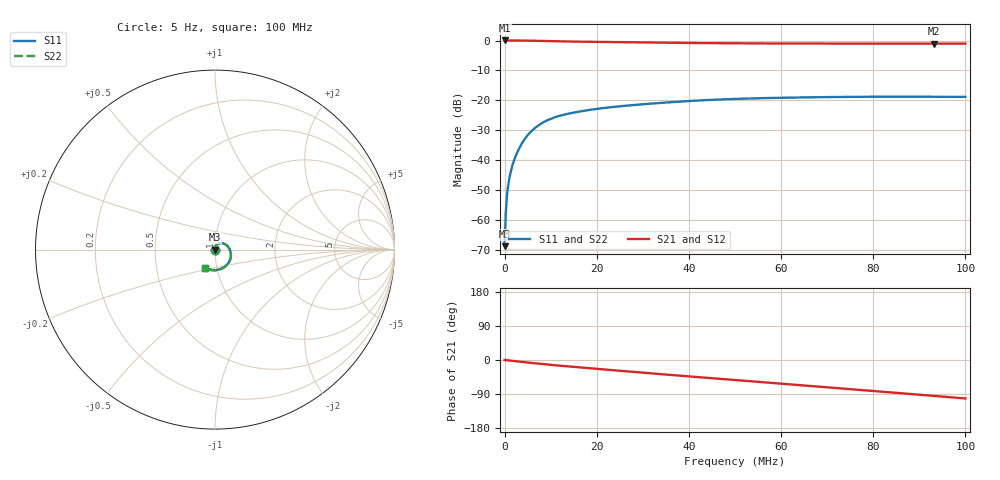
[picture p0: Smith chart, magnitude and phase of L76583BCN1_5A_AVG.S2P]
!Agilent Technologies,E5061B,MY49102235,A.02.00
!Date: Mon Jul 10 16:11:33 2023
!Data & Calibration Information:
!Freq	S11:SOLT2(ON)	S21:SOLT2(ON)	S12:SOLT2(ON)	S22:SOLT2(ON)
# Hz S RI R 50
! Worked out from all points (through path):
!   1600 points, 5 Hz to 100 MHz, reference 50 ohm
!   highest |S21| = 0.01 dB at 5 Hz (marker M1); lowest = -1.0 dB at 93.25 MHz (marker M2)
!   group delay of S21, straight-line fit = 2.74 ns
!   lowest |S11| = -68.9 dB at 62.54 kHz (marker M3), VSWR 1.00, Z = 50 + j0.0356 ohm
!   |S11| at or under -10 dB: start of sweep to end of sweep
!   |S22| runs from -73.5 to -18.7 dB; largest |S21 - S12| = 0.0026
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5  -0.00045 0.000433  1.002 0.00232  1.001 -4.2e-05  -0.000204 -5.1e-05
62544.08  -5.02e-05 0.000356  1 -0.00123  1 -0.00109  3.11e-05 0.000258
375239.5  0.000165 0.00187  0.9998 -0.0084  1 -0.0085  0.000111 0.00182
625395.8  0.000277 0.00308  0.9996 -0.0143  0.9991 -0.0142  0.000286 0.00311
813013.1  0.000185 0.0039  1 -0.0187  0.999 -0.0182  0.000175 0.00386
1125709  0.000329 0.00539  0.9996 -0.0258  0.999 -0.0255  0.000354 0.00537
1563482  0.000512 0.00742  0.9986 -0.0356  0.999 -0.0355  0.000548 0.0074
2251412  0.00114 0.0108  0.9984 -0.0521  0.9981 -0.0511  0.00112 0.0108
3001881  0.00198 0.0147  0.9968 -0.0681  0.997 -0.068  0.00195 0.0147
4002506  0.00414 0.0199  0.9933 -0.0921  0.9933 -0.0919  0.00407 0.02
4940593  0.00741 0.0246  0.9887 -0.1138  0.9886 -0.1135  0.00731 0.0247
6003757  0.0119 0.0288  0.9824 -0.1372  0.9825 -0.1369  0.0118 0.0288
8880555  0.0267 0.0358  0.9609 -0.1958  0.9609 -0.1954  0.0266 0.0359
1.188243e7  0.0418 0.0352  0.9359 -0.2485  0.9358 -0.2485  0.0418 0.0354
1.669794e7  0.0593 0.0277  0.8964 -0.3252  0.8964 -0.3251  0.0594 0.0277
2.345216e7  0.0762 0.0115  0.8363 -0.4236  0.8364 -0.4234  0.0763 0.0113
3.333334e7  0.0876 -0.0186  0.7369 -0.5496  0.737 -0.5494  0.088 -0.0192
5.003127e7  0.0763 -0.0723  0.5418 -0.7154  0.5421 -0.7155  0.0762 -0.073
6.672921e7  0.034 -0.1067  0.3207 -0.8279  0.3206 -0.828  0.034 -0.1079
8.33646e7  -0.0135 -0.1137  0.0767 -0.8833  0.0769 -0.8835  -0.014 -0.1153
9.324578e7  -0.0394 -0.1072  -0.0745 -0.8831  -0.0747 -0.8835  -0.0402 -0.1093
1e8  -0.0552 -0.0998  -0.1776 -0.8689  -0.1781 -0.8691  -0.0564 -0.1021
